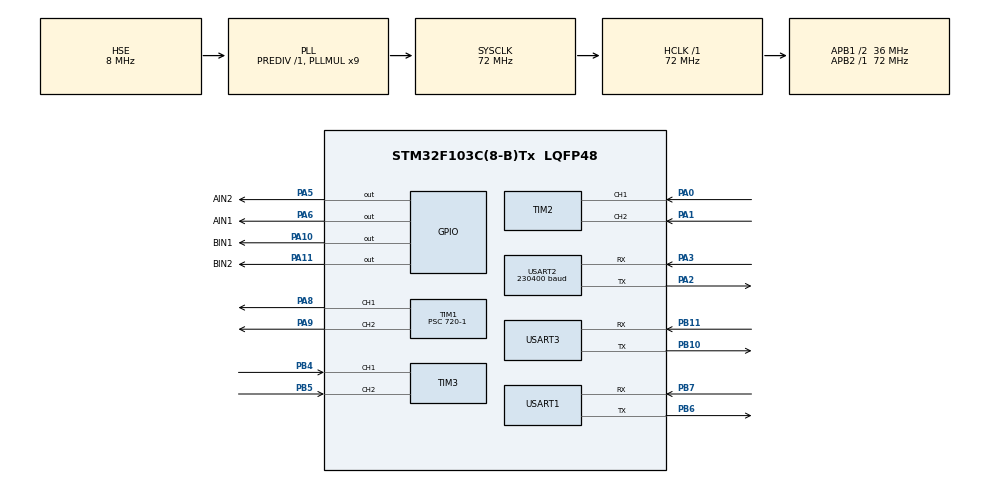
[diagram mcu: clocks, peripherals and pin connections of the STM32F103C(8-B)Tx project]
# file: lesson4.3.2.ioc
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Dma.Request0=USART3_RX
Dma.Request1=USART3_TX
Dma.USART3_RX.0.Direction=DMA_PERIPH_TO_MEMORY
Dma.USART3_RX.0.Instance=DMA1_Channel3
Dma.USART3_RX.0.MemDataAlignment=DMA_MDATAALIGN_BYTE
Dma.USART3_RX.0.MemInc=DMA_MINC_ENABLE
Dma.USART3_RX.0.Mode=DMA_NORMAL
Dma.USART3_RX.0.PeriphDataAlignment=DMA_PDATAALIGN_BYTE
Dma.USART3_RX.0.PeriphInc=DMA_PINC_DISABLE
Dma.USART3_RX.0.Priority=DMA_PRIORITY_LOW
Dma.USART3_TX.1.Direction=DMA_MEMORY_TO_PERIPH
Dma.USART3_TX.1.Instance=DMA1_Channel2
Dma.USART3_TX.1.MemDataAlignment=DMA_MDATAALIGN_BYTE
Dma.USART3_TX.1.MemInc=DMA_MINC_ENABLE
Dma.USART3_TX.1.Mode=DMA_NORMAL
Dma.USART3_TX.1.PeriphDataAlignment=DMA_PDATAALIGN_BYTE
Dma.USART3_TX.1.PeriphInc=DMA_PINC_DISABLE
Dma.USART3_TX.1.Priority=DMA_PRIORITY_LOW
Mcu.Family=STM32F1
Mcu.Name=STM32F103C(8-B)Tx
Mcu.Package=LQFP48
NVIC.DMA1_Channel2_IRQn=true\:0\:0\:false\:false\:true\:false\:true\:true
NVIC.DMA1_Channel3_IRQn=true\:0\:0\:false\:false\:true\:false\:true\:true
NVIC.PriorityGroup=NVIC_PRIORITYGROUP_4
NVIC.TIM1_UP_IRQn=true\:2\:0\:true\:false\:true\:true\:true\:true
NVIC.TIM2_IRQn=true\:2\:0\:true\:false\:true\:true\:true\:true
NVIC.TIM3_IRQn=true\:2\:0\:true\:false\:true\:true\:true\:true
NVIC.USART2_IRQn=true\:1\:0\:true\:false\:true\:true\:true\:true
NVIC.USART3_IRQn=true\:0\:0\:false\:false\:true\:true\:true\:true
PA0-WKUP.Signal=S_TIM2_CH1_ETR
PA1.Signal=S_TIM2_CH2
PA10.GPIO_Label=BIN1
PA10.Signal=GPIO_Output
PA11.GPIO_Label=BIN2
PA11.Signal=GPIO_Output
PA13.Mode=Serial_Wire
PA13.Signal=SYS_JTMS-SWDIO
PA14.Mode=Serial_Wire
PA14.Signal=SYS_JTCK-SWCLK
PA2.Mode=Asynchronous
PA2.Signal=USART2_TX
PA3.Mode=Asynchronous
PA3.Signal=USART2_RX
PA5.GPIO_Label=AIN2
PA5.Signal=GPIO_Output
PA6.GPIO_Label=AIN1
PA6.Signal=GPIO_Output
PA8.Signal=S_TIM1_CH1
PA9.Signal=S_TIM1_CH2
PB10.Mode=Asynchronous
PB10.Signal=USART3_TX
PB11.Mode=Asynchronous
PB11.Signal=USART3_RX
PB4.Signal=S_TIM3_CH1
PB5.Signal=S_TIM3_CH2
PB6.Mode=Asynchronous
PB6.Signal=USART1_TX
PB7.Mode=Asynchronous
PB7.Signal=USART1_RX
PD0-OSC_IN.Mode=HSE-External-Oscillator
PD0-OSC_IN.Signal=RCC_OSC_IN
PD1-OSC_OUT.Mode=HSE-External-Oscillator
PD1-OSC_OUT.Signal=RCC_OSC_OUT
ProjectManager.HeapSize=0x200
ProjectManager.StackSize=0x400
ProjectManager.TargetToolchain=MDK-ARM V5.32
RCC.AHBFreq_Value=72000000
RCC.APB1CLKDivider=RCC_HCLK_DIV2
RCC.APB1Freq_Value=36000000
RCC.APB1TimFreq_Value=72000000
RCC.APB2Freq_Value=72000000
RCC.APB2TimFreq_Value=72000000
RCC.HCLKFreq_Value=72000000
RCC.PLLMUL=RCC_PLL_MUL9
RCC.PLLSourceVirtual=RCC_PLLSOURCE_HSE
RCC.SYSCLKFreq_VALUE=72000000
RCC.SYSCLKSource=RCC_SYSCLKSOURCE_PLLCLK
RCC.USBFreq_Value=72000000
SH.S_TIM1_CH1.0=TIM1_CH1,PWM Generation1 CH1
SH.S_TIM1_CH2.0=TIM1_CH2,PWM Generation2 CH2
SH.S_TIM2_CH1_ETR.0=TIM2_CH1,Encoder_Interface
SH.S_TIM2_CH2.0=TIM2_CH2,Encoder_Interface
SH.S_TIM3_CH1.0=TIM3_CH1,Encoder_Interface
SH.S_TIM3_CH2.0=TIM3_CH2,Encoder_Interface
TIM1.Channel-PWM\ Generation1\ CH1=TIM_CHANNEL_1
TIM1.Channel-PWM\ Generation2\ CH2=TIM_CHANNEL_2
TIM1.Period=1000-1
TIM1.Prescaler=720-1
TIM2.EncoderMode=TIM_ENCODERMODE_TI12
TIM3.EncoderMode=TIM_ENCODERMODE_TI12
USART1.VirtualMode=VM_ASYNC
USART2.BaudRate=230400
USART2.VirtualMode=VM_ASYNC
USART3.VirtualMode=VM_ASYNC
VP_TIM1_VS_ClockSourceINT.Mode=Internal
board=custom

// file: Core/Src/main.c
/* USER CODE BEGIN Header */
/**
  ******************************************************************************
  * @file           : main.c
  * @brief          : Main program body
  ******************************************************************************
  * @attention
  *
  * Copyright (c) 2024 STMicroelectronics.
  * All rights reserved.
  *
  * This software is licensed under terms that can be found in the LICENSE file
  * in the root directory of this software component.
  * If no LICENSE file comes with this software, it is provided AS-IS.
  *
  ******************************************************************************
  */
/* USER CODE END Header */
#include "main.h"
#include "dma.h"
#include "tim.h"
#include "usart.h"
#include "gpio.h"

/* USER CODE BEGIN Includes */
#include "PID.h"
#include "motor.h"
#include "stdlib.h"
#include "string.h"
#include "ctype.h"
#include "stp_23l.h"
/* USER CODE END Includes */

/* USER CODE BEGIN PV */
uint8_t receive_flag = '0';
uint8_t receiveData[10];
double ref;
double ref1;
motor_data motor1;
motor_data motor2;
double pfdb;
char arr[6];
int rxindex=0;
u16 receive_cnt;//¼Ƌ㳉¹¦½ӊՊý¾ݖ¡´Ί�?
u8 confidence;
u16 distance,noise,reftof;
u32 peak,intg;
u8 dis;
extern LidarPointTypedef Pack_Data[12];/* À״ｓʕµĊý¾ݴ¢´攚բ¸ö±䁿֮�? */
extern LidarPointTypedef Pack_sum;
uint8_t stp_Receive_buf[1];
/* USER CODE END PV */

void SystemClock_Config(void);

int main(void)
{

  /* MCU Configuration--------------------------------------------------------*/

  /* Reset of all peripherals, Initializes the Flash interface and the Systick. */
  HAL_Init();

  /* Configure the system clock */
  SystemClock_Config();

  /* Initialize all configured peripherals */
  MX_GPIO_Init();
  MX_DMA_Init();
  MX_TIM1_Init();
  MX_TIM2_Init();
  MX_TIM3_Init();
  MX_USART3_UART_Init();
  MX_USART2_UART_Init();
  MX_USART1_UART_Init();
  /* USER CODE BEGIN 2 */
motor_init(htim2,htim1,TIM_CHANNEL_1,&motor1);
motor_init(htim3,htim1,TIM_CHANNEL_2,&motor2);
HAL_TIM_Base_Start_IT(&htim1);//�?启中断时不能同时�?启时�?,否则不进中断
motor_start(&motor1);
motor_start(&motor2);
HAL_UARTEx_ReceiveToIdle_DMA(&huart3,receiveData,10);
HAL_UART_Receive_IT(&huart2,stp_Receive_buf,sizeof(stp_Receive_buf));
__HAL_DMA_DISABLE_IT(&hdma_usart3_rx,DMA_IT_HT);
//set_pidp_ref(&motor1,285/8.3/3.14159265358);
//		  set_pidp_ref(&motor2,285/8.3/3.14159265358);
  /* USER CODE END 2 */

  /* Infinite loop */
  /* USER CODE BEGIN WHILE */
  while (1)//如果加传感器，在传感器电平变化的时�?�只�?要修改位置式pid的反馈�?�，即实际已经行进多�?
  {
		set_motor_direction(&motor2,AIN1_GPIO_Port,AIN1_Pin,AIN2_GPIO_Port,AIN2_Pin);
		set_motor_direction(&motor1,BIN1_GPIO_Port,BIN1_Pin,BIN2_GPIO_Port,BIN2_Pin);
		if(receive_flag =='a'){
			ref1=ref/8.3/3.14159265358;//ref参数单位为cm
		  set_pidp_ref(&motor1,ref1);
		  set_pidp_ref(&motor2,ref1);
			receiveData[0]='0';
			receive_flag='0';
		}
    /* USER CODE END WHILE */

  }
}

void SystemClock_Config(void)
{
  RCC_OscInitTypeDef RCC_OscInitStruct = {0};
  RCC_ClkInitTypeDef RCC_ClkInitStruct = {0};

  /** Initializes the RCC Oscillators according to the specified parameters
  * in the RCC_OscInitTypeDef structure.
  */
  RCC_OscInitStruct.OscillatorType = RCC_OSCILLATORTYPE_HSE;
  RCC_OscInitStruct.HSEState = RCC_HSE_ON;
  RCC_OscInitStruct.HSEPredivValue = RCC_HSE_PREDIV_DIV1;
  RCC_OscInitStruct.HSIState = RCC_HSI_ON;
  RCC_OscInitStruct.PLL.PLLState = RCC_PLL_ON;
  RCC_OscInitStruct.PLL.PLLSource = RCC_PLLSOURCE_HSE;
  RCC_OscInitStruct.PLL.PLLMUL = RCC_PLL_MUL9;
  if (HAL_RCC_OscConfig(&RCC_OscInitStruct) != HAL_OK)
  {
    Error_Handler();
  }

  /** Initializes the CPU, AHB and APB buses clocks
  */
  RCC_ClkInitStruct.ClockType = RCC_CLOCKTYPE_HCLK|RCC_CLOCKTYPE_SYSCLK
                              |RCC_CLOCKTYPE_PCLK1|RCC_CLOCKTYPE_PCLK2;
  RCC_ClkInitStruct.SYSCLKSource = RCC_SYSCLKSOURCE_PLLCLK;
  RCC_ClkInitStruct.AHBCLKDivider = RCC_SYSCLK_DIV1;
  RCC_ClkInitStruct.APB1CLKDivider = RCC_HCLK_DIV2;
  RCC_ClkInitStruct.APB2CLKDivider = RCC_HCLK_DIV1;

  if (HAL_RCC_ClockConfig(&RCC_ClkInitStruct, FLASH_LATENCY_2) != HAL_OK)
  {
    Error_Handler();
  }
}

/* USER CODE BEGIN 4 */
void HAL_TIM_PeriodElapsedCallback(TIM_HandleTypeDef *htim){
	if(htim==&htim1){
		motor_pid_control(&motor2);
		motor_pid_control(&motor1);
		pfdb=(motor1.motor_pid_p.fdb+motor2.motor_pid_p.fdb)/2;
		motor1.motor_pid_p.fdb=motor2.motor_pid_p.fdb=pfdb;
	}
}
void HAL_UARTEx_RxEventCallback(UART_HandleTypeDef* huart,uint16_t Size){
	if(huart==&huart3){//第一位设为标志位
		receive_flag = receiveData[0];
		ref=atof(&receiveData[1]);
		HAL_UARTEx_ReceiveToIdle_DMA(&huart3,receiveData,10);
		__HAL_DMA_DISABLE_IT(&hdma_usart3_rx,DMA_IT_HT);
	}
}
void HAL_UART_RxCpltCallback(UART_HandleTypeDef *huart)
{

	static uint8_t state = 0;
	static uint8_t crc = 0;
	static uint8_t cnt = 0;
	static uint8_t PACK_FLAG = 0;
	static uint8_t data_len  = 0;
	static uint32_t timestamp = 0;
	static uint8_t state_flag = 1;
	uint8_t temp_data;
	if(huart -> Instance == USART2)
	{
			temp_data=stp_Receive_buf[0];
			if(state< 4)
				{
						if(temp_data == HEADER) state ++;
						else state = 0;
				}
				else if(state<10&&state>3)
				{
						switch(state)
						{
								case 4:
									if(temp_data == device_address)
									{
													state ++;
													crc = crc + temp_data;
													break;
									}
									else state = 0,crc = 0;
								case 5:
									if(temp_data == PACK_GET_DISTANCE)
									{
													PACK_FLAG = PACK_GET_DISTANCE;
													state ++;
													crc = crc + temp_data;
													break;
									}

									else if(temp_data == PACK_RESET_SYSTEM)
									{
													PACK_FLAG = PACK_RESET_SYSTEM;
													state ++;
													crc = crc + temp_data;
													break;
									}
									else if(temp_data == PACK_STOP)
									{
													PACK_FLAG = PACK_STOP;
													state ++;
													crc = crc + temp_data;
													break;
									}
									else if(temp_data == PACK_ACK)
									{
													PACK_FLAG = PACK_ACK;
													state ++;
													crc = crc + temp_data;
													break;
									}
									else if(temp_data == PACK_VERSION)
									{
													PACK_FLAG = PACK_VERSION,
													state ++,
													crc = crc + temp_data;
													break;
									}
									else state = 0,crc = 0;
								case 6: if(temp_data == chunk_offset)
												{
													state ++;
													crc = crc + temp_data;
													break;
												}
												else state = 0,crc = 0;
								case 7: if(temp_data == chunk_offset)
												{
													state ++;
													crc = crc + temp_data;
													break;
												}
												else state = 0,crc = 0;
								case 8:
										data_len = (u16)temp_data;
										state ++;
										crc = crc + temp_data;
										break;
								case 9:
										data_len = data_len + ((u16)temp_data<<8);
										state ++;
										crc = crc + temp_data;
										break;
								default: break;
						}
				}
				else if(state == 10 ) state_flag = 0;
				if(PACK_FLAG == PACK_GET_DISTANCE&&state_flag == 0)
				{
						if(state>9)
						{
								if(state<190)
								{
										static uint8_t state_num;
										state_num = (state-10)%15;
										switch(state_num)
										{
												case 0:
													Pack_Data[cnt].distance = (uint16_t)temp_data ;
													crc = crc + temp_data;
													state++;
													break;
												case 1:
													Pack_Data[cnt].distance = ((u16)temp_data<<8) + Pack_Data[cnt].distance;
													crc = crc + temp_data;
													state++;
													break;
												case 2:
													Pack_Data[cnt].noise = (u16)temp_data;
													crc = crc + temp_data;
													state++;
													break;
												case 3:
													Pack_Data[cnt].noise = ((u16)temp_data<<8) + Pack_Data[cnt].noise;
													crc = crc + temp_data;
													state++;
													break;
												case 4:
													Pack_Data[cnt].peak = (u32)temp_data;
													crc = crc + temp_data;
													state++;
													break;
												case 5:
													Pack_Data[cnt].peak = ((u32)temp_data<<8) + Pack_Data[cnt].peak;
													crc = crc + temp_data;
													state++;
													break;
												case 6:
													Pack_Data[cnt].peak = ((u32)temp_data<<16) + Pack_Data[cnt].peak;
													crc = crc + temp_data;
													state++;
													break;
												case 7:
													Pack_Data[cnt].peak = ((u32)temp_data<<24) + Pack_Data[cnt].peak;
													crc = crc + temp_data;
													state++;
													break;
												case 8:
													Pack_Data[cnt].confidence = temp_data;
													crc = crc + temp_data;
													state++;
													break;
												case 9:
													Pack_Data[cnt].intg = (u32)temp_data;
													crc = crc + temp_data;
													state++;
													break;
												case 10:
													Pack_Data[cnt].intg = ((u32)temp_data<<8) + Pack_Data[cnt].intg;
													crc = crc + temp_data;
													state++;
													break;
												case 11:
													Pack_Data[cnt].intg = ((u32)temp_data<<16) + Pack_Data[cnt].intg;
													crc = crc + temp_data;
													state++;
													break;
												case 12:
													Pack_Data[cnt].intg = ((u32)temp_data<<24) + Pack_Data[cnt].intg;
													crc = crc + temp_data;
													state++;
													break;
												case 13:
													Pack_Data[cnt].reftof = (int16_t)temp_data;
													crc = crc + temp_data;
													state++;
													break;
												case 14:
													Pack_Data[cnt].reftof = ((int16_t)temp_data<<8) +Pack_Data[cnt].reftof;
													crc = crc + temp_data;
													state++;
													cnt++;
													break;
												default: break;
										}
							}

										if(state == 191) timestamp = temp_data,state++,crc = crc + temp_data;
										else if(state == 192) timestamp = ((u32)temp_data<<8) + timestamp,state++,crc = crc + temp_data;
										else if(state == 193) timestamp = ((u32)temp_data<<16) + timestamp,state++,crc = crc + temp_data;
										else if(state == 194) timestamp = ((u32)temp_data<<24) + timestamp,state++,crc = crc + temp_data;
										else if(state==195)
										{
													if(temp_data == crc)
													{
															data_process();
															receive_cnt++;
														  if(receive_cnt>1) receive_cnt=1;
													}
													//distance = Pack_Data[0].distance;
													crc = 0;
													state = 0;
													state_flag = 1;
													cnt = 0;
										}
										 if(state == 190) state++;

						}
				}
			HAL_UART_Receive_IT(&huart2,stp_Receive_buf,sizeof(stp_Receive_buf));
	}
}
/* USER CODE END 4 */

void Error_Handler(void)
{
  __disable_irq();
  while (1)
  {
  }
}
